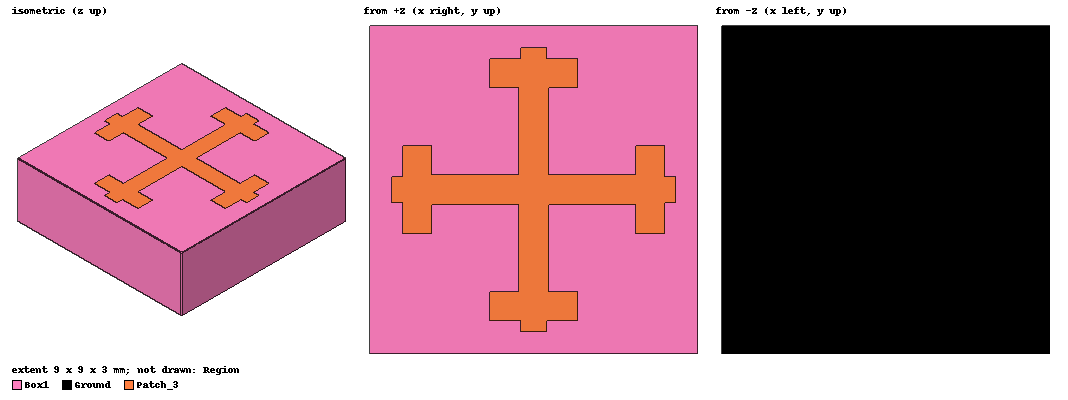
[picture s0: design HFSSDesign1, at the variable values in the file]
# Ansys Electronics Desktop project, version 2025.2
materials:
  vacuum: permittivity=1
  FR2: permittivity=2.65 dielectric_loss_tangent=0.002

design HFSSDesign1 (HFSS, HFSS Modal Network, model units mm)
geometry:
  Box1 [FR2] = box(corner=(0mm, 0mm, 0mm), size=(9mm, 9mm, 3mm))
  Patch = rectangle(corner=(4.1mm, 0.9mm, 3mm), x_size=0.8mm, y_size=7.2mm)
  Rectangle1 = rectangle(corner=(3.3mm, 0.9mm, 3mm), x_size=2.4mm, y_size=0.8mm)
  Rectangle2 = rectangle(corner=(4.15mm, 0.9mm, 3mm), x_size=0.7mm, y_size=-0.3mm)
  coordinate_system RelativeCS1 = origin=(4.5mm, 4.5mm, 3mm) x=(1mm, 0mm, 0mm) y=(0mm, 1mm, 0mm)
  Rectangle1_1 = Rectangle1.duplicate_around_axis(axis=Z, angle=180deg, total=2) in RelativeCS1
  Rectangle2_1 = Rectangle2.duplicate_around_axis(axis=Z, angle=180deg, total=2) in RelativeCS1
  Rectangle1.unite(Rectangle1_1, Rectangle2, Rectangle2_1, Patch)
  Patch_3 = Rectangle1.duplicate_around_axis(axis=Z, angle=90deg, total=2) in RelativeCS1
  Patch_3.unite(Rectangle1)
  Ground = rectangle(corner=(9mm, 0mm, 0mm), x_size=-9mm, y_size=9mm)
  Region [vacuum] = region(absolute_offset: +X=0mm, -X=0mm, +Y=0mm, -Y=0mm, +Z=4.1666mm, -Z=0mm)
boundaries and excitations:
  PerfE1: Perfect E Objects=[Patch_3, Ground]
  Primary1: Primary Faces=Region.face(-x) CoordSysVector{(0, 9, 7.1666) -> (0, 0, 7.1666)}
  Secondary1: Secondary Faces=Region.face(+x) CoordSysVector{(9, 9, 7.1666) -> (9, 0, 7.1666)} ReverseV primary=Primary1 PhaseDelay=UseScanAngle Phi=0deg Theta=0deg
  Primary2: Primary Faces=Region.face(-y) CoordSysVector{(0, 0, 7.1666) -> (9, 0, 7.1666)}
  Secondary2: Secondary Faces=Region.face(+y) CoordSysVector{(0, 9, 7.1666) -> (9, 9, 7.1666)} ReverseV primary=Primary2 PhaseDelay=UseScanAngle Phi=0deg Theta=0deg
  FloquetPort1: Floquet Port Faces=Region.face(+z) NumModes=2 DeembedDist=4.1666mm Modes{Mode1{CharImp=Zpi} Mode2{CharImp=Zpi}} PhaseDelay=UseScanAngle Phi=0deg Theta=0deg LatticeAVector{(9, 9, 7.1666) -> (9, 0, 7.1666)} LatticeBVector{(9, 9, 7.1666) -> (0, 9, 7.1666)} ModesCalculator{Frequency=18GHz FrequencyChanged PhiStart=0deg PhiStop=0deg PhiStep=0deg ThetaStart=0deg ThetaStop=0deg ThetaStep=0deg} ModesList{Mode{ModeNumber=1 IndexM=0 IndexN=0 KC2=0 PropagationState=Propagating Attenuation=0 PolarizationState=TE AffectsRefinement} Mode{ModeNumber=2 IndexM=0 IndexN=0 KC2=0 PropagationState=Propagating Attenuation=0 PolarizationState=TM AffectsRefinement}}
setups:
  Setup1: HfssDriven Frequency=18GHz MaxDeltaS=0.02 MaximumPasses=25 MinimumPasses=1 MinimumConvergedPasses=1 PercentRefinement=30 BasisOrder=1 PortAccuracy=2 DrivenSolverType="Direct Solver"
    sweep Sweep: 7GHz to 19GHz, 451 points; Type=Interpolating InterpTolerance=0.5 InterpMaxSolns=250 InterpUsePortImped=false PassivityErrorTolerance=0.0001
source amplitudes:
  FloquetPort1:1: 1W 0deg
  FloquetPort1:2: 0W 0deg
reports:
  S Parameter Plot1: ang_deg(S(FloquetPort1:1,FloquetPort1:1)) vs Freq on Setup1 : Sweep
